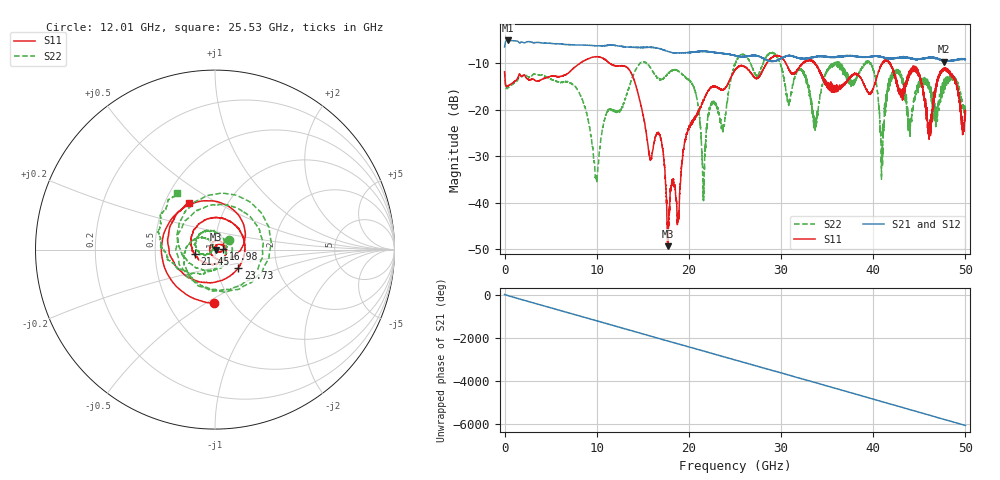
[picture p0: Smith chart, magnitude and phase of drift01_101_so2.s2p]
!Created with skrf (http://scikit-rf.org).
# Hz S RI R 50.0
!freq ReS11 ImS11 ReS21 ImS21 ReS12 ImS12 ReS22 ImS22
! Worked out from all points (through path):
!   10001 points, 300 kHz to 50 GHz, reference 50 ohm
!   highest |S21| = -5.05 dB at 325.3 MHz (marker M1); lowest = -9.6 dB at 47.7 GHz (marker M2)
!   group delay of S21, straight-line fit = 336 ps
!   lowest |S11| = -49.4 dB at 17.69 GHz (marker M3), VSWR 1.01, Z = 50.3 - j0.12 ohm
!   |S11| at or under -10 dB: start of sweep to 8.162 GHz; 11.43 GHz to 28.42 GHz (16.99 GHz wide, 85.3 % of centre); 41.81 GHz to end of sweep (the widest 3 of 10)
!   |S22| runs from -39.6 to -7.6 dB; largest |S21 - S12| = 0.015
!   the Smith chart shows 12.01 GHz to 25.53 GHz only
!   S11 on the Smith chart (normalised r, x): 12.01 GHz: 0.83, -0.54; 16.98 GHz: 1.10, +0.01; 21.45 GHz: 0.79, -0.04; 23.73 GHz: 1.27, -0.27; 25.53 GHz: 0.66, +0.38
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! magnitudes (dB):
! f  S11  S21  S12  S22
! 300 kHz  -11.8  -6.5  -6.5  -11.8
! 325.3 MHz  -15.0  -5.1  -5.1  -15.4
! 8.335 GHz  -9.8  -6.0  -6.0  -17.5
! 9.935 GHz  -8.6  -6.2  -6.2  -34.3
! 12.01 GHz  -10.5  -6.1  -6.1  -20.4
! 16.67 GHz  -24.9  -6.8  -6.7  -13.3
! 16.98 GHz  -26.5  -6.9  -6.9  -13.4
! 17.69 GHz  -49.4  -7.4  -7.4  -12.3
! 20.5 GHz  -22.3  -7.5  -7.5  -15.0
! 21.45 GHz  -18.7  -7.4  -7.4  -30.9
! 22.47 GHz  -15.1  -7.5  -7.6  -19.0
! 23.73 GHz  -15.6  -7.9  -7.9  -24.0
! 25 GHz  -11.4  -8.3  -8.3  -10.2
! 25.53 GHz  -10.5  -8.5  -8.5  -8.4
! 33.34 GHz  -9.4  -8.7  -8.7  -19.7
! 39.49 GHz  -16.4  -8.6  -8.6  -9.9
! 40.95 GHz  -10.1  -8.7  -8.6  -28.8
! 41.67 GHz  -9.7  -8.8  -9.0  -14.9
! 44.74 GHz  -11.9  -9.1  -9.1  -14.8
! 46.11 GHz  -24.7  -8.8  -8.8  -15.6
! 47.7 GHz  -11.4  -9.6  -9.5  -13.5
! 50 GHz  -21.0  -9.1  -9.1  -20.4
